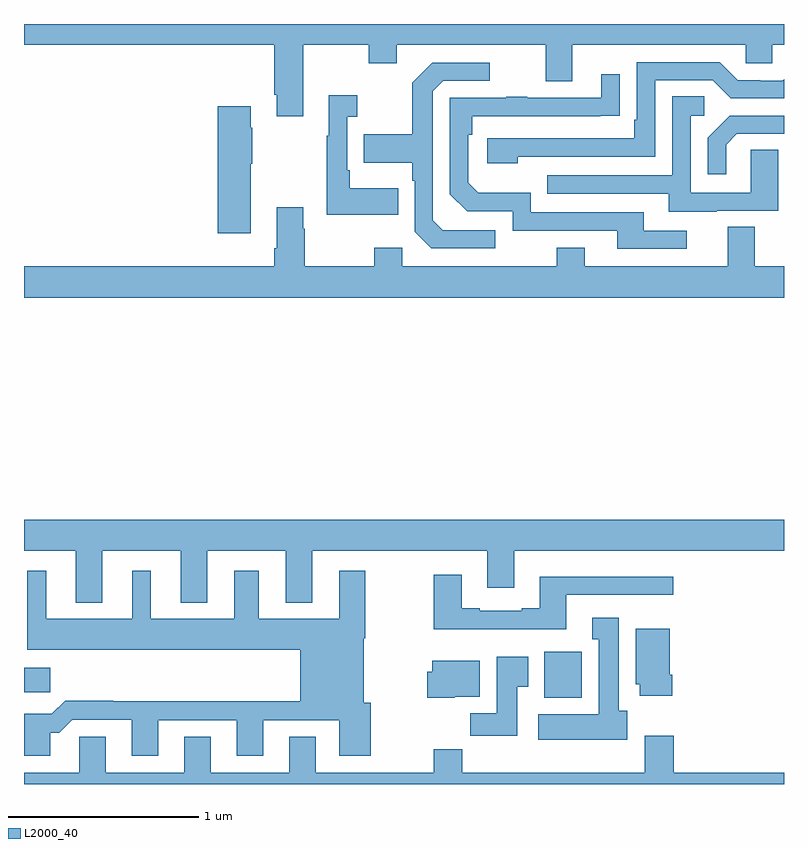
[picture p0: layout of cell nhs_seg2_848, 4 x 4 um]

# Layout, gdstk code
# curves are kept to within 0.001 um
import gdstk
lib = gdstk.Library(unit=1e-6, precision=1e-09)
def R(c, l, rs):  # rectangles x0, y0, x1, y1
    for r in rs: c.add(gdstk.rectangle(r[:2], r[2:], *l))
def P(c, l, *ps):  # polygons
    for p in ps: c.add(gdstk.Polygon(p, *l))
L2000_40 = (2000, 40)

nhs_seg2_848 = lib.new_cell('nhs_seg2_848')
R(nhs_seg2_848, L2000_40, [(157.739,588.254,157.936,588.496), (155,588.283,155.137,588.412)])
P(nhs_seg2_848, L2000_40, [(156.469,591.692),(156.814,591.692),(156.814,591.593),(156.961,591.593),(156.961,591.692),(157.745,591.692),(157.745,591.498),(157.885,591.498),(157.885,591.692),(158.799,591.692),(158.799,591.594),(158.937,591.594),(158.937,591.692),(159,591.692),(159,591.8),(155,591.8),(155,591.692),(156.317,591.692),(156.317,591.427),(156.329,591.427),(156.329,591.315),(156.469,591.315)],
  [(157.598,591.102),(158.322,591.102),(158.322,591.504),(158.625,591.504),(158.721,591.408),(159,591.408),(159,591.51),(158.991,591.501),(158.876,591.501),(158.876,591.504),(158.757,591.504),(158.661,591.6),(158.226,591.6),(158.226,591.295),(158.213,591.295),(158.213,591.198),(157.437,591.198),(157.437,591.068),(157.598,591.068)],
  [(157.48,590.715),(157.203,590.715),(157.152,590.766),(157.152,591.447),(157.206,591.501),(157.45,591.501),(157.45,591.597),(157.149,591.597),(157.044,591.491),(157.044,591.219),(156.787,591.219),(156.787,591.071),(157.044,591.071),(157.044,590.975),(157.056,590.975),(157.056,590.706),(157.143,590.619),(157.48,590.619)],
  [(158.488,590.712),(158.263,590.712),(158.263,590.808),(157.668,590.808),(157.668,590.911),(157.391,590.911),(157.338,590.964),(157.338,591.218),(157.358,591.218),(157.358,591.315),(158.135,591.316),(158.135,591.535),(158.039,591.535),(158.039,591.411),(157.649,591.411),(157.649,591.416),(157.537,591.416),(157.537,591.411),(157.242,591.411),(157.242,590.904),(157.332,590.814),(157.572,590.814),(157.572,590.712),(158.123,590.712),(158.123,590.616),(158.488,590.616)],
  [(156.971,590.935),(156.715,590.935),(156.715,591.031),(156.702,591.031),(156.702,591.311),(156.754,591.311),(156.754,591.424),(156.605,591.424),(156.605,591.211),(156.594,591.211),(156.594,590.795),(156.971,590.795)],
  [(158.647,590.817),(158.971,590.817),(158.971,591.137),(158.826,591.137),(158.826,590.913),(158.508,590.913),(158.508,591.318),(158.581,591.318),(158.581,591.419),(158.412,591.419),(158.412,591.003),(157.753,591.003),(157.753,590.907),(158.393,590.907),(158.393,590.813),(158.647,590.813)],
  [(156.193,591.065),(156.201,591.065),(156.201,591.254),(156.193,591.254),(156.193,591.367),(156.02,591.367),(156.02,590.7),(156.193,590.7)],
  [(158.695,591.165),(158.752,591.222),(159,591.222),(159,591.318),(158.714,591.318),(158.598,591.202),(158.598,591.009),(158.695,591.009)],
  [(159,590.524),(158.845,590.524),(158.845,590.732),(158.705,590.732),(158.705,590.524),(157.951,590.524),(157.951,590.623),(157.804,590.623),(157.804,590.524),(156.99,590.524),(156.99,590.623),(156.844,590.623),(156.844,590.524),(156.477,590.524),(156.477,590.723),(156.469,590.723),(156.469,590.836),(156.329,590.836),(156.329,590.62),(156.317,590.62),(156.317,590.524),(155,590.524),(155,590.36),(159,590.36)],
  [(155.413,589.028),(155.825,589.028),(155.825,588.755),(155.965,588.755),(155.965,589.028),(156.377,589.028),(156.377,588.755),(156.517,588.755),(156.517,589.028),(157.439,589.028),(157.439,588.834),(157.579,588.834),(157.579,589.028),(159,589.028),(159,589.192),(155,589.192),(155,589.028),(155.273,589.028),(155.273,588.755),(155.413,588.755)],
  [(155.137,588.071),(155.186,588.071),(155.253,588.138),(155.567,588.138),(155.567,587.949),(155.707,587.949),(155.707,588.135),(156.119,588.135),(156.119,587.949),(156.259,587.949),(156.259,588.135),(156.659,588.135),(156.659,587.949),(156.824,587.949),(156.824,588.228),(156.787,588.228),(156.787,588.566),(156.795,588.566),(156.795,588.922),(156.659,588.922),(156.659,588.67),(156.235,588.67),(156.235,588.922),(156.107,588.922),(156.107,588.67),(155.668,588.67),(155.668,588.922),(155.57,588.922),(155.57,588.67),(155.116,588.67),(155.116,588.922),(155.018,588.922),(155.018,588.506),(156.455,588.506),(156.455,588.236),(155.471,588.236),(155.471,588.239),(155.216,588.239),(155.146,588.169),(155,588.169),(155,587.949),(155.137,587.949)],
  [(157.855,588.795),(158.416,588.795),(158.416,588.892),(157.715,588.892),(157.715,588.724),(157.619,588.724),(157.619,588.711),(157.399,588.711),(157.399,588.724),(157.303,588.724),(157.303,588.901),(157.156,588.901),(157.156,588.614),(157.855,588.614)],
  [(158.176,588.186),(158.131,588.186),(158.131,588.676),(157.991,588.676),(157.991,588.563),(158.024,588.563),(158.024,588.166),(157.707,588.166),(157.707,588.032),(158.176,588.032)],
  [(158.411,588.376),(158.398,588.376),(158.398,588.616),(158.219,588.616),(158.219,588.324),(158.24,588.324),(158.24,588.264),(158.411,588.264)],
  [(157.597,588.313),(157.654,588.313),(157.654,588.469),(157.487,588.469),(157.487,588.172),(157.348,588.172),(157.348,588.054),(157.597,588.054)],
  [(157.266,588.26),(157.399,588.26),(157.399,588.448),(157.148,588.448),(157.148,588.39),(157.123,588.39),(157.123,588.254),(157.266,588.254)],
  [(159,587.86),(158.42,587.86),(158.42,588.055),(158.267,588.055),(158.267,587.86),(157.307,587.86),(157.307,587.984),(157.156,587.984),(157.156,587.86),(156.535,587.86),(156.535,588.05),(156.395,588.05),(156.395,587.86),(155.983,587.86),(155.983,588.05),(155.843,588.05),(155.843,587.86),(155.431,587.86),(155.431,588.05),(155.292,588.05),(155.292,587.86),(155,587.86),(155,587.8),(159,587.8)])

lib.write_gds('nhs_seg2_848.gds')
